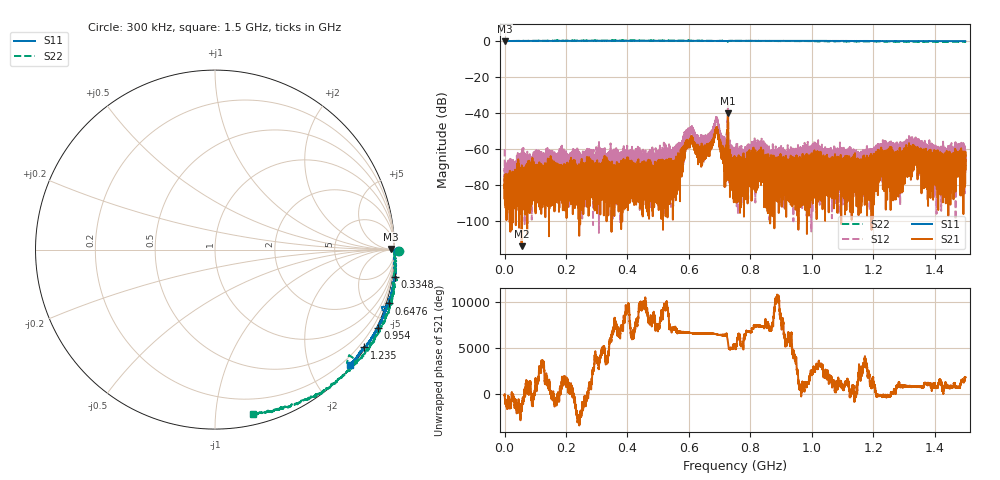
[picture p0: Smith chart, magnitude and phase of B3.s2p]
!Agilent Technologies,N5230C,SG49000117,A.08.50.07
!Agilent N5230C: A.08.50.07
!Date: Thursday, December 07, 2023 05:09:24
!Correction: S11(Full 2 Port(1,2))
!S21(Full 2 Port(1,2))
!S12(Full 2 Port(1,2))
!S22(Full 2 Port(1,2))
!S2P File: Measurements: S11, S21, S12, S22:
# Hz S  RI  R 50
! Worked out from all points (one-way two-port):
!   20001 points, 300 kHz to 1.5 GHz, reference 50 ohm
!   highest |S21| = -40.11 dB at 727.1 MHz (marker M1); lowest = -114.1 dB at 55.71 MHz (marker M2)
!   lowest |S11| = -0.2 dB at 674.9 kHz (marker M3), VSWR 92.62, Z = 4.45e+03 + j889 ohm
!   |S11| at or under -10 dB: nowhere
!   |S22| runs from -0.6 to 0.3 dB; largest |S21 - S12| = 0.01
!   S11 on the Smith chart (normalised r, x): 300 kHz: -87, -45; 334.8 MHz: -1, -13; 647.6 MHz: -0.28, -6.59; 954 MHz: -0.05, -4.40; 1.235 GHz: 0.04, -3.35; 1.5 GHz: 0.05, -2.72
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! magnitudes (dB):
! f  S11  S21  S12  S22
! 300 kHz  0.2  -75.8  -60.2  0.2
! 674.9 kHz  -0.2  -77.1  -75.7  -0.6
! 8.023 MHz  0.0  -85.6  -80.5  0.0
! 55.71 MHz  0.0  -114.1  -77.9  0.1
! 250.3 MHz  0.1  -86.2  -63.7  0.2
! 334.8 MHz  0.1  -67.4  -79.4  0.2
! 500.2 MHz  0.1  -70.7  -61.5  0.2
! 555 MHz  0.1  -70.7  -68.1  0.1
! 604.5 MHz  0.1  -55.1  -49.9  0.1
! 647.6 MHz  0.1  -59.9  -53.7  0.1
! 689 MHz  0.1  -48.5  -42.9  0.0
! 713.4 MHz  0.1  -60.4  -55.8  0.1
! 727.1 MHz  -0.1  -40.1  -34.4  -0.5
! 750.1 MHz  0.1  -68.9  -65.0  0.1
! 832.9 MHz  0.1  -67.5  -72.4  0.0
! 854.8 MHz  0.1  -78.3  -59.5  0.0
! 954 MHz  0.0  -69.8  -80.0  -0.1
! 1 GHz  0.1  -77.4  -66.3  0.0
! 1.164 GHz  0.0  -78.5  -66.6  -0.3
! 1.235 GHz  -0.1  -69.2  -65.6  -0.4
! 1.25 GHz  -0.1  -61.8  -57.2  -0.3
! 1.5 GHz  -0.1  -63.9  -62.9  -0.6
